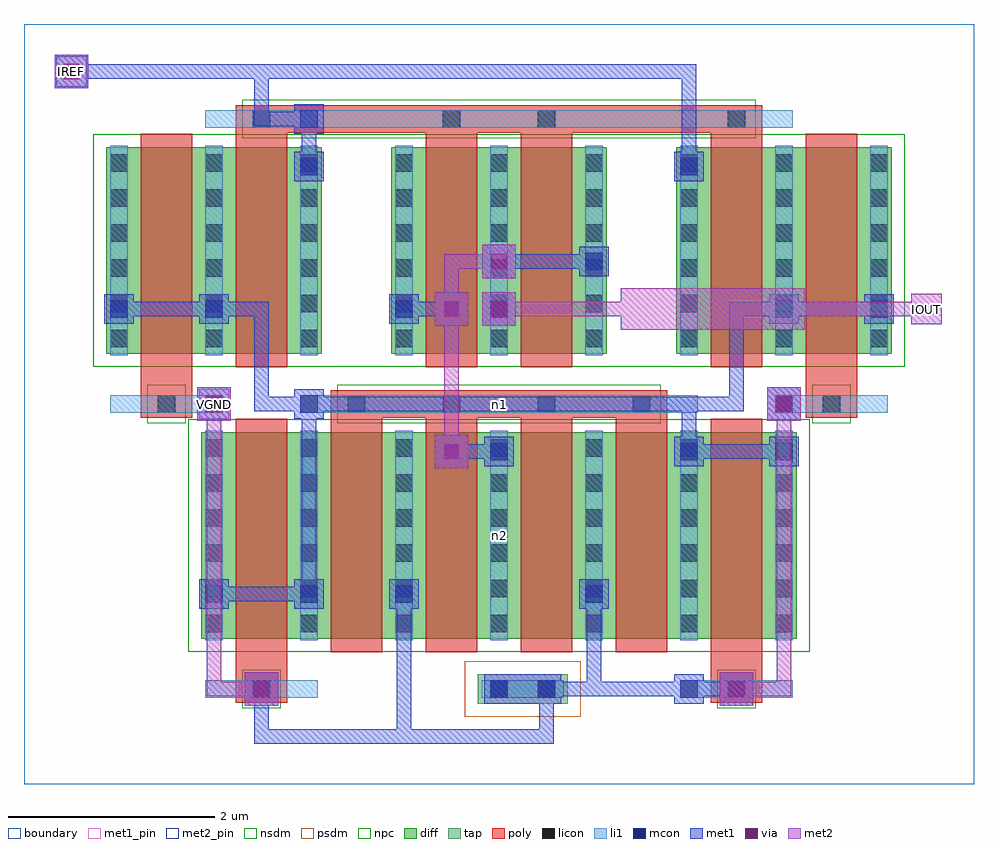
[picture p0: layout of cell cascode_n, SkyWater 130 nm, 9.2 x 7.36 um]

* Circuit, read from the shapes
.subckt cascode_n IOUT IREF VGND n1 n2
XM1 n1 VGND n1 VGND sky130_fd_pr__nfet_01v8 w=2 l=0.5 m=4
XM2 IREF IREF n1 VGND sky130_fd_pr__nfet_01v8 w=2 l=0.5 m=2
XM3 VGND n1 n1 VGND sky130_fd_pr__nfet_01v8 w=2 l=0.5 m=2
XM4 n2 n1 VGND VGND sky130_fd_pr__nfet_01v8 w=2 l=0.5 m=2
XM5 IOUT IREF n2 VGND sky130_fd_pr__nfet_01v8 w=2 l=0.5 m=2
.ends

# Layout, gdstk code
import gdstk
lib = gdstk.Library(unit=1e-6, precision=1e-09)
def R(c, l, rs):  # rectangles x0, y0, x1, y1
    for r in rs: c.add(gdstk.rectangle(r[:2], r[2:], *l))
def A(c, l, x, y, w, h, nx, ny, dx, dy):  # array of equal rectangles
    R(c, l, [(x+i*dx, y+j*dy, x+i*dx+w, y+j*dy+h) for i in range(nx) for j in range(ny)])
diff = (65, 20)
tap = (65, 44)
poly = (66, 20)
licon = (66, 44)
li1 = (67, 20)
mcon = (67, 44)
met1_pin = (68, 16)
met1 = (68, 20)
via = (68, 44)
met2_pin = (69, 16)
met2 = (69, 20)
nsdm = (93, 44)
psdm = (94, 20)
npc = (95, 20)
boundary = (235, 4)

cascode_n = lib.new_cell('cascode_n')
A(cascode_n, diff, 0.795, 4.165, 2.09, 2, 3, 1, 2.76, 0)
R(cascode_n, diff, [(1.715,1.405,7.485,3.405)])
R(cascode_n, tap, [(4.395,0.775,5.265,1.065)])
A(cascode_n, poly, 2.97, 1.275, 0.5, 2.405, 4, 1, 0.92, 0)
R(cascode_n, poly, [(2.05,0.785,2.55,1.055), (6.65,0.785,7.15,1.055), (2.05,0.92,2.55,3.535), (6.65,0.92,7.15,3.535), (1.13,3.545,1.63,3.815), (2.97,3.545,6.23,3.815), (7.57,3.545,8.07,3.815), (1.13,3.68,1.63,6.295), (7.57,3.68,8.07,6.295), (2.05,4.035,2.55,6.44), (3.89,4.035,4.39,6.44), (4.81,4.035,5.31,6.44), (6.65,4.035,7.15,6.44), (2.05,6.305,7.15,6.575)])
A(cascode_n, licon, 1.755, 1.47, 0.17, 0.17, 7, 6, 0.92, 0.34)
A(cascode_n, licon, 3.135, 3.595, 0.17, 0.17, 4, 1, 0.92, 0)
A(cascode_n, licon, 0.835, 4.23, 0.17, 0.17, 9, 6, 0.92, 0.34)
R(cascode_n, licon, [(2.215,0.835,2.385,1.005), (4.515,0.835,4.685,1.005), (4.975,0.835,5.145,1.005), (6.815,0.835,6.985,1.005), (1.295,3.595,1.465,3.765), (7.735,3.595,7.905,3.765), (2.215,6.355,2.385,6.525), (4.055,6.355,4.225,6.525), (4.975,6.355,5.145,6.525), (6.815,6.355,6.985,6.525)])
A(cascode_n, li1, 1.755, 1.39, 0.17, 2.03, 7, 1, 0.92, 0)
A(cascode_n, li1, 0.835, 4.15, 0.17, 2.03, 9, 1, 0.92, 0)
R(cascode_n, li1, [(1.755,0.835,2.845,1.005), (4.435,0.835,5.225,1.005), (6.355,0.835,7.445,1.005), (0.835,3.595,1.925,3.765), (2.675,3.595,6.525,3.765), (7.275,3.595,8.365,3.765), (1.755,6.355,7.445,6.525)])
A(cascode_n, mcon, 1.755, 1.755, 0.17, 0.17, 3, 1, 0.92, 0)
R(cascode_n, mcon, [(2.215,0.835,2.385,1.005), (4.515,0.835,4.685,1.005), (4.975,0.835,5.145,1.005), (6.355,0.835,6.525,1.005), (5.435,1.755,5.605,1.925), (4.515,3.135,4.685,3.305), (6.355,3.135,6.525,3.305), (7.275,3.135,7.445,3.305), (1.755,3.595,1.925,3.765), (2.675,3.595,2.845,3.765), (7.275,3.595,7.445,3.765), (0.835,4.515,1.005,4.685), (1.755,4.515,1.925,4.685), (3.595,4.515,3.765,4.685), (4.515,4.515,4.685,4.685), (7.275,4.515,7.445,4.685), (8.195,4.515,8.365,4.685), (5.435,4.975,5.605,5.145), (2.675,5.895,2.845,6.065), (6.355,5.895,6.525,6.065), (2.675,6.355,2.845,6.525)])
R(cascode_n, met1_pin, [(1.695,3.535,1.985,3.825)])
A(cascode_n, met1, 1.695, 1.695, 0.29, 0.29, 3, 1, 0.92, 0)
R(cascode_n, met1, [(2.23,0.39,2.37,0.99), (2.23,0.39,3.75,0.53), (3.61,0.39,5.13,0.53), (3.61,0.39,3.75,1.91), (4.99,0.39,5.13,0.99), (2.14,0.76,2.46,1.08), (6.74,0.76,7.06,1.08), (2.155,0.775,2.445,1.065), (4.455,0.775,5.205,1.065), (6.295,0.775,6.585,1.065), (4.99,0.85,5.59,0.99), (4.99,0.85,5.13,0.99), (5.45,0.85,5.59,1.91), (5.45,0.85,6.51,0.99), (6.37,0.85,6.97,0.99), (5.375,1.695,5.665,1.985), (1.77,1.77,2.83,1.91), (2.69,1.77,2.83,3.75), (3.98,3.06,4.3,3.38), (4.455,3.075,4.745,3.365), (6.295,3.075,6.585,3.365), (7.215,3.075,7.505,3.365), (4.07,3.15,4.67,3.29), (6.37,3.15,6.51,3.75), (6.37,3.15,7.43,3.29), (1.68,3.52,2,3.84), (7.2,3.52,7.52,3.84), (1.695,3.535,1.985,3.825), (2.615,3.535,2.905,3.825), (7.215,3.535,7.505,3.825), (2.23,3.61,2.83,3.75), (2.23,3.61,2.37,4.67), (2.69,3.61,6.51,3.75), (6.37,3.61,6.97,3.75), (6.83,3.61,6.97,4.67), (3.98,4.44,4.3,4.76), (4.44,4.44,4.76,4.76), (0.775,4.455,1.065,4.745), (1.695,4.455,1.985,4.745), (3.535,4.455,3.825,4.745), (4.455,4.455,4.745,4.745), (7.215,4.455,7.505,4.745), (8.135,4.455,8.425,4.745), (0.85,4.53,1.91,4.67), (1.77,4.53,2.37,4.67), (3.61,4.53,4.21,4.67), (6.83,4.53,7.43,4.67), (7.29,4.53,8.35,4.67), (4.44,4.9,4.76,5.22), (5.375,4.915,5.665,5.205), (4.53,4.99,5.59,5.13), (2.615,5.835,2.905,6.125), (6.295,5.835,6.585,6.125), (2.69,5.91,2.83,6.51), (6.37,5.91,6.51,6.97), (2.615,6.295,2.905,6.585), (2.23,6.37,2.37,6.97), (2.23,6.37,2.83,6.51), (0.3,6.74,0.62,7.06), (0.39,6.83,2.37,6.97), (2.23,6.83,6.51,6.97)])
R(cascode_n, via, [(2.225,0.845,2.375,0.995), (6.825,0.845,6.975,0.995), (4.065,3.145,4.215,3.295), (1.765,3.605,1.915,3.755), (7.285,3.605,7.435,3.755), (4.065,4.525,4.215,4.675), (4.525,4.525,4.675,4.675), (4.525,4.985,4.675,5.135), (0.385,6.825,0.535,6.975)])
R(cascode_n, met2_pin, [(8.59,4.45,8.89,4.75), (0.31,6.75,0.61,7.05)])
R(cascode_n, met2, [(2.14,0.76,2.46,1.08), (6.74,0.76,7.06,1.08), (1.77,0.85,2.37,0.99), (1.77,0.85,1.91,3.75), (6.83,0.85,7.43,0.99), (7.29,0.85,7.43,3.75), (3.98,3.06,4.3,3.38), (4.07,3.15,4.21,4.67), (1.68,3.52,2,3.84), (7.2,3.52,7.52,3.84), (5.78,4.4,7.56,4.8), (3.98,4.44,4.3,4.76), (4.44,4.44,4.76,4.76), (8.59,4.45,8.89,4.75), (4.07,4.53,4.21,5.13), (4.53,4.53,6.05,4.67), (7.29,4.53,8.81,4.67), (8.67,4.53,8.81,4.67), (4.44,4.9,4.76,5.22), (4.07,4.99,4.67,5.13), (0.3,6.74,0.62,7.06), (0.31,6.75,0.61,7.05), (0.39,6.83,0.53,6.97)])
R(cascode_n, nsdm, [(1.59,1.28,7.61,3.53), (0.67,4.04,8.53,6.29)])
R(cascode_n, psdm, [(4.27,0.65,5.39,1.19)])
R(cascode_n, npc, [(2.115,0.735,2.485,1.105), (6.715,0.735,7.085,1.105), (1.195,3.495,1.565,3.865), (3.035,3.495,6.165,3.865), (7.635,3.495,8.005,3.865), (2.115,6.255,7.085,6.625)])
R(cascode_n, boundary, [(0,0,9.2,7.36)])
cascode_n.add(gdstk.Label('n1', (4.6,3.68), layer=67, texttype=5))
cascode_n.add(gdstk.Label('n2', (4.6,2.405), layer=67, texttype=5))
cascode_n.add(gdstk.Label('VGND', (1.84,3.68), layer=68, texttype=5))
cascode_n.add(gdstk.Label('IREF', (0.46,6.9), layer=69, texttype=5))
cascode_n.add(gdstk.Label('IOUT', (8.74,4.6), layer=69, texttype=5))
cascode_n.add(gdstk.Label('VGND', (1.84,3.68), layer=68, texttype=16))
cascode_n.add(gdstk.Label('IREF', (0.46,6.9), layer=69, texttype=16))
cascode_n.add(gdstk.Label('IOUT', (8.74,4.6), layer=69, texttype=16))

lib.write_gds('cascode_n.gds')
